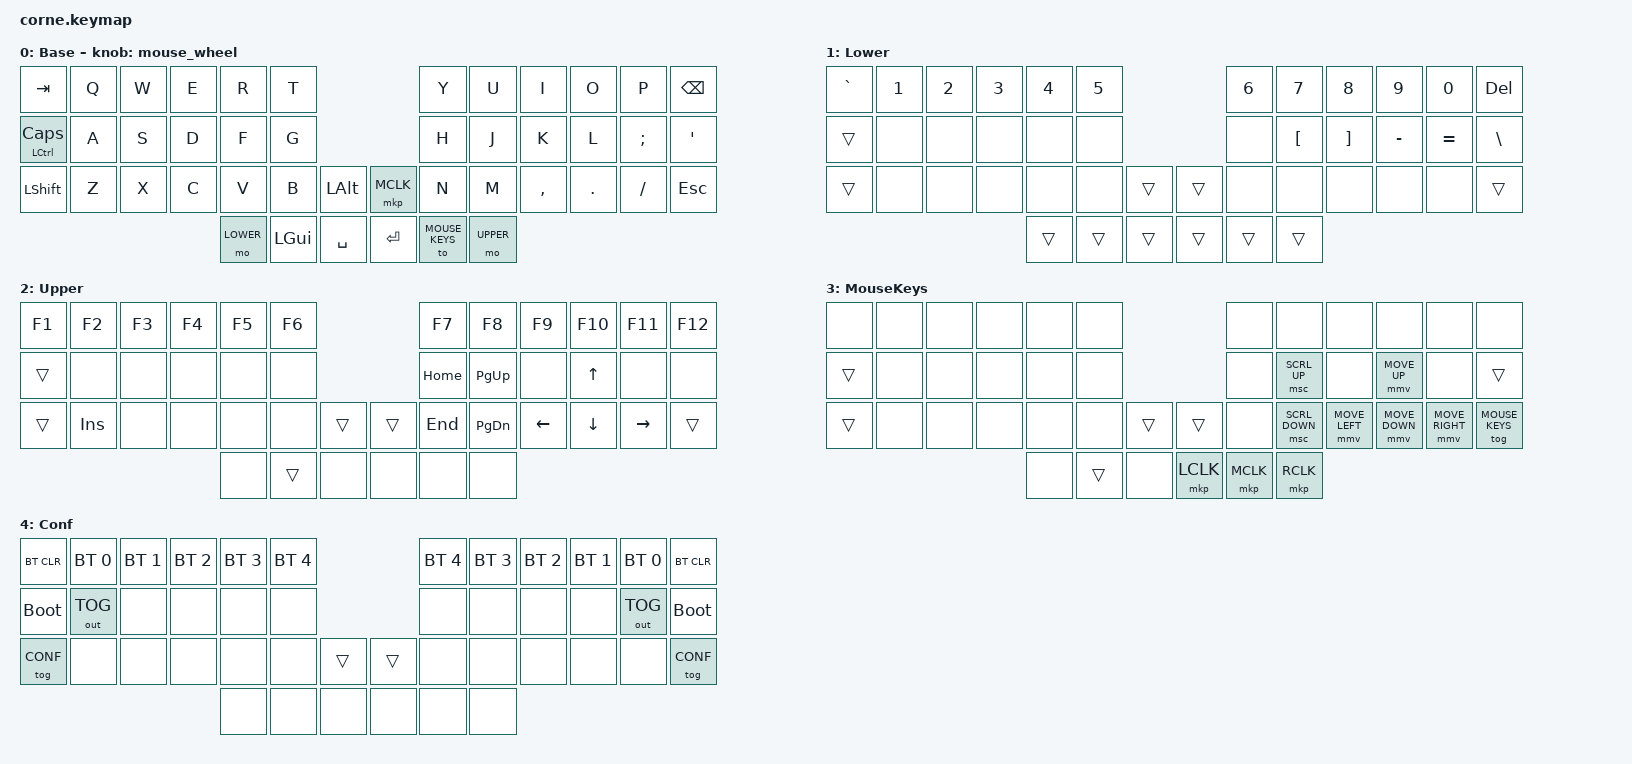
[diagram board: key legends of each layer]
/*
 * Copyright (c) 2020 The ZMK Contributors
 *
 * SPDX-License-Identifier: MIT
 */

// Change mouse default parameters
//#define ZMK_POINTING_DEFAULT_MOVE_VAL 1200  // 600
#define ZMK_POINTING_DEFAULT_SCRL_VAL 25   // 10

//#include <input/processors.dtsi>
#include <behaviors.dtsi>
#include <dt-bindings/zmk/keys.h>
#include <dt-bindings/zmk/bt.h>
#include <dt-bindings/zmk/pointing.h>
#include <dt-bindings/zmk/outputs.h>

#define BASE 0
#define LOWER 1
#define UPPER 2
#define MOUSE_KEYS 3
#define CONF 4

// Double the speed of scrolling and tweak parameters
/*
&msc_input_listener { input-processors = <&zip_scroll_scaler 2 1>; };

&msc {
    acceleration-exponent = <1>;      // 0
    time-to-max-speed-ms = <100>;       // 300
    delay-ms = <0>;                   // 0
};
*/

// Disable line-wrap in your editor to see a "visualization" of the key layouts
/ {
    combos {
        compatible = "zmk,combos";

        combo_conflayer {
            timeout-ms = <50>;
            key-positions = <17 29>;
            bindings = <&to CONF>;
        };
    };

    behaviors {
        mouse_wheel: mouse_wheel {
            compatible = "zmk,behavior-sensor-rotate";
            #sensor-binding-cells = <0>;
            bindings = <&msc SCRL_UP>, <&msc SCRL_DOWN>;
	    tap-ms = <100>;
        };
    };

    keymap {
        compatible = "zmk,keymap";

        Base_layer {
            display-name = "Base";
            bindings = <
//     ╭────────────────────────┬────────────────────────┬────────────────────────┬────────────────────────┬────────────────────────┬────────────────────────╮                                                      ╭────────────────────────┬────────────────────────┬────────────────────────┬────────────────────────┬────────────────────────┬────────────────────────╮
         &kp TAB                  &kp Q                    &kp W                    &kp E                    &kp R                    &kp T                                                                           &kp Y                    &kp U                    &kp I                    &kp O                    &kp P                    &kp BSPC
//     ├────────────────────────┼────────────────────────┼────────────────────────┼────────────────────────┼────────────────────────┼────────────────────────┤                                                      ├────────────────────────┼────────────────────────┼────────────────────────┼────────────────────────┼────────────────────────┼────────────────────────┤
         &mt LCTRL CAPS           &kp A                    &kp S                    &kp D                    &kp F                    &kp G                                                                           &kp H                    &kp J                    &kp K                    &kp L                    &kp SEMI                 &kp SQT
//     ├────────────────────────┼────────────────────────┼────────────────────────┼────────────────────────┼────────────────────────┼────────────────────────┼────────────────────────╮    ╭────────────────────────┼────────────────────────┼────────────────────────┼────────────────────────┼────────────────────────┼────────────────────────┼────────────────────────┤
         &kp LSHFT                &kp Z                    &kp X                    &kp C                    &kp V                    &kp B                    &kp LALT                      &mkp MCLK                &kp N                    &kp M                    &kp COMMA                &kp DOT                  &kp SLASH                &kp ESC
//     ╰────────────────────────┴────────────────────────┴────────────────────────┴────────────────────────┼────────────────────────┼────────────────────────┼────────────────────────┤    ├────────────────────────┼────────────────────────┼────────────────────────┼────────────────────────┴────────────────────────┴────────────────────────┴────────────────────────╯
                                                                                                             &mo LOWER                &kp LGUI                 &kp SPACE                     &kp RET                  &to MOUSE_KEYS           &mo UPPER
//                                                                                                         ╰────────────────────────┴────────────────────────┴────────────────────────╯    ╰────────────────────────┴────────────────────────┴────────────────────────╯
            >;
	    sensor-bindings = <&mouse_wheel>;
        };

        Lower_layer {
            display-name = "Lower";
            bindings = <
//     ╭────────────────────────┬────────────────────────┬────────────────────────┬────────────────────────┬────────────────────────┬────────────────────────╮                                                      ╭────────────────────────┬────────────────────────┬────────────────────────┬────────────────────────┬────────────────────────┬────────────────────────╮
         &kp GRAVE                &kp N1                   &kp N2                   &kp N3                   &kp N4                   &kp N5                                                                          &kp N6                   &kp N7                   &kp N8                   &kp N9                   &kp N0                   &kp DEL
//     ├────────────────────────┼────────────────────────┼────────────────────────┼────────────────────────┼────────────────────────┼────────────────────────┤                                                      ├────────────────────────┼────────────────────────┼────────────────────────┼────────────────────────┼────────────────────────┼────────────────────────┤
         &trans                   &none                    &none                    &none                    &none                    &none                                                                           &none                    &kp LEFT_BRACKET         &kp RIGHT_BRACKET        &kp MINUS                &kp EQUAL                &kp BSLH
//     ├────────────────────────┼────────────────────────┼────────────────────────┼────────────────────────┼────────────────────────┼────────────────────────┼────────────────────────╮    ╭────────────────────────┼────────────────────────┼────────────────────────┼────────────────────────┼────────────────────────┼────────────────────────┼────────────────────────┤
         &trans                   &none                    &none                    &none                    &none                    &none                    &trans                        &trans                   &none                    &none                    &none                    &none                    &none                    &trans
//     ╰────────────────────────┴────────────────────────┴────────────────────────┴────────────────────────┼────────────────────────┼────────────────────────┼────────────────────────┤    ├────────────────────────┼────────────────────────┼────────────────────────┼────────────────────────┴────────────────────────┴────────────────────────┴────────────────────────╯
                                                                                                             &trans                   &trans                   &trans                        &trans                   &trans                   &trans
//                                                                                                         ╰────────────────────────┴────────────────────────┴────────────────────────╯    ╰────────────────────────┴────────────────────────┴────────────────────────╯
            >;
        };

        Upper_layer {
            display-name = "Upper";
            bindings = <
//     ╭────────────────────────┬────────────────────────┬────────────────────────┬────────────────────────┬────────────────────────┬────────────────────────╮                                                      ╭────────────────────────┬────────────────────────┬────────────────────────┬────────────────────────┬────────────────────────┬────────────────────────╮
         &kp F1                   &kp F2                   &kp F3                   &kp F4                   &kp F5                   &kp F6                                                                          &kp F7                   &kp F8                   &kp F9                   &kp F10                  &kp F11                  &kp F12     
//     ├────────────────────────┼────────────────────────┼────────────────────────┼────────────────────────┼────────────────────────┼────────────────────────┤                                                      ├────────────────────────┼────────────────────────┼────────────────────────┼────────────────────────┼────────────────────────┼────────────────────────┤
         &trans                   &none                    &none                    &none                    &none                    &none                                                                           &kp HOME                 &kp PAGE_UP              &none                    &kp UP                   &none                    &none 
//     ├────────────────────────┼────────────────────────┼────────────────────────┼────────────────────────┼────────────────────────┼────────────────────────┼────────────────────────╮    ╭────────────────────────┼────────────────────────┼────────────────────────┼────────────────────────┼────────────────────────┼────────────────────────┼────────────────────────┤
         &trans                   &kp INS                  &none                    &none                    &none                    &none                    &trans                        &trans                   &kp END                  &kp PAGE_DOWN            &kp LEFT                 &kp DOWN                 &kp RIGHT                &trans     
//     ╰────────────────────────┴────────────────────────┴────────────────────────┴────────────────────────┼────────────────────────┼────────────────────────┼────────────────────────┤    ├────────────────────────┼────────────────────────┼────────────────────────┼────────────────────────┴────────────────────────┴────────────────────────┴────────────────────────╯
                                                                                                             &none                    &trans                   &none                         &none                    &none                    &none 
//                                                                                                         ╰────────────────────────┴────────────────────────┴────────────────────────╯    ╰────────────────────────┴────────────────────────┴────────────────────────╯
            >;
        };

        MouseKeys_layer {
            display-name = "MouseKeys";
            bindings = <
//     ╭────────────────────────┬────────────────────────┬────────────────────────┬────────────────────────┬────────────────────────┬────────────────────────╮                                                      ╭────────────────────────┬────────────────────────┬────────────────────────┬────────────────────────┬────────────────────────┬────────────────────────╮
         &none                    &none                    &none                    &none                    &none                    &none                                                                           &none                    &none                    &none                    &none                    &none                    &none
//     ├────────────────────────┼────────────────────────┼────────────────────────┼────────────────────────┼────────────────────────┼────────────────────────┤                                                      ├────────────────────────┼────────────────────────┼────────────────────────┼────────────────────────┼────────────────────────┼────────────────────────┤
         &trans                   &none                    &none                    &none                    &none                    &none                                                                           &none                    &msc SCRL_UP             &none                    &mmv MOVE_UP             &none                    &trans
//     ├────────────────────────┼────────────────────────┼────────────────────────┼────────────────────────┼────────────────────────┼────────────────────────┼────────────────────────╮    ╭────────────────────────┼────────────────────────┼────────────────────────┼────────────────────────┼────────────────────────┼────────────────────────┼────────────────────────┤
         &trans                   &none                    &none                    &none                    &none                    &none                    &trans                        &trans                   &none                    &msc SCRL_DOWN           &mmv MOVE_LEFT           &mmv MOVE_DOWN           &mmv MOVE_RIGHT          &tog MOUSE_KEYS
//     ╰────────────────────────┴────────────────────────┴────────────────────────┴────────────────────────┼────────────────────────┼────────────────────────┼────────────────────────┤    ├────────────────────────┼────────────────────────┼────────────────────────┼────────────────────────┴────────────────────────┴────────────────────────┴────────────────────────╯
                                                                                                             &none                    &trans                   &none                         &mkp LCLK                &mkp MCLK                &mkp RCLK
//                                                                                                         ╰────────────────────────┴────────────────────────┴────────────────────────╯    ╰────────────────────────┴────────────────────────┴────────────────────────╯
            >;
        };

        Conf_layer {
            display-name = "Conf";
            bindings = <
//     ╭────────────────────────┬────────────────────────┬────────────────────────┬────────────────────────┬────────────────────────┬────────────────────────╮                                                      ╭────────────────────────┬────────────────────────┬────────────────────────┬────────────────────────┬────────────────────────┬────────────────────────╮
         &bt BT_CLR               &bt BT_SEL 0             &bt BT_SEL 1             &bt BT_SEL 2             &bt BT_SEL 3             &bt BT_SEL 4                                                                    &bt BT_SEL 4             &bt BT_SEL 3             &bt BT_SEL 2             &bt BT_SEL 1             &bt BT_SEL 0             &bt BT_CLR
//     ├────────────────────────┼────────────────────────┼────────────────────────┼────────────────────────┼────────────────────────┼────────────────────────┤                                                      ├────────────────────────┼────────────────────────┼────────────────────────┼────────────────────────┼────────────────────────┼────────────────────────┤
         &bootloader              &out OUT_TOG             &none                    &none                    &none                    &none                                                                           &none                    &none                    &none                    &none                    &out OUT_TOG             &bootloader 
//     ├────────────────────────┼────────────────────────┼────────────────────────┼────────────────────────┼────────────────────────┼────────────────────────┼────────────────────────╮    ╭────────────────────────┼────────────────────────┼────────────────────────┼────────────────────────┼────────────────────────┼────────────────────────┼────────────────────────┤
         &tog CONF                &none                    &none                    &none                    &none                    &none                    &trans                        &trans                   &none                    &none                    &none                    &none                    &none                    &tog CONF
//     ╰────────────────────────┴────────────────────────┴────────────────────────┴────────────────────────┼────────────────────────┼────────────────────────┼────────────────────────┤    ├────────────────────────┼────────────────────────┼────────────────────────┼────────────────────────┴────────────────────────┴────────────────────────┴────────────────────────╯
                                                                                                             &none                    &none                    &none                         &none                    &none                    &none 
//                                                                                                         ╰────────────────────────┴────────────────────────┴────────────────────────╯    ╰────────────────────────┴────────────────────────┴────────────────────────╯
            >;
        };

    };
};
